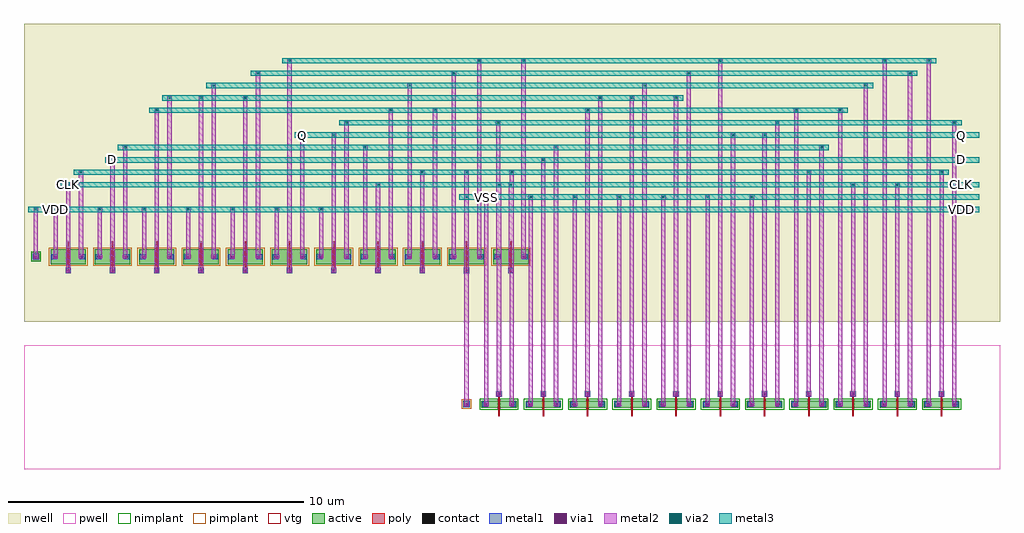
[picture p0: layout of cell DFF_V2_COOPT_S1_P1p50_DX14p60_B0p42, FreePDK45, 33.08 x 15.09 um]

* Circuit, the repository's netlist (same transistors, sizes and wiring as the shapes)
* cell DFF_V2_COOPT_S1_P1p50_DX14p60_B0p42
* pin D
* pin Q
* pin VDD
* pin CLK,VSS
.SUBCKT DFF_V2_COOPT_S1_P1p50_DX14p60_B0p42 1 7 9 10
* net 1 D
* net 7 Q
* net 9 VDD
* net 10 CLK,VSS
* device instance $1 r0 *1 16.2,7 PMOS_VTG
M$1 8 10 10 9 PMOS_VTG L=0.05U W=0.5U AS=0.2875P AD=0.2875P PS=2.15U PD=2.15U
* device instance $2 r0 *1 14.7,7 PMOS_VTG
M$2 8 10 5 9 PMOS_VTG L=0.05U W=0.5U AS=0.2875P AD=0.2875P PS=2.15U PD=2.15U
* device instance $3 r0 *1 13.2,7 PMOS_VTG
M$3 2 10 4 9 PMOS_VTG L=0.05U W=0.5U AS=0.2875P AD=0.2875P PS=2.15U PD=2.15U
* device instance $4 r0 *1 11.7,7 PMOS_VTG
M$4 2 10 6 9 PMOS_VTG L=0.05U W=0.5U AS=0.2875P AD=0.2875P PS=2.15U PD=2.15U
* device instance $5 r0 *1 10.2,7 PMOS_VTG
M$5 10 7 9 9 PMOS_VTG L=0.05U W=0.5U AS=0.2875P AD=0.2875P PS=2.15U PD=2.15U
* device instance $6 r0 *1 2.7,7 PMOS_VTG
M$6 6 1 9 9 PMOS_VTG L=0.05U W=0.5U AS=0.2875P AD=0.2875P PS=2.15U PD=2.15U
* device instance $7 r0 *1 1.2,7 PMOS_VTG
M$7 10 10 9 9 PMOS_VTG L=0.05U W=0.5U AS=0.2875P AD=0.2875P PS=2.15U PD=2.15U
* device instance $8 r0 *1 8.7,7 PMOS_VTG
M$8 7 8 9 9 PMOS_VTG L=0.05U W=0.5U AS=0.2875P AD=0.2875P PS=2.15U PD=2.15U
* device instance $9 r0 *1 4.2,7 PMOS_VTG
M$9 3 2 9 9 PMOS_VTG L=0.05U W=0.5U AS=0.2875P AD=0.2875P PS=2.15U PD=2.15U
* device instance $10 r0 *1 7.2,7 PMOS_VTG
M$10 5 3 9 9 PMOS_VTG L=0.05U W=0.5U AS=0.2875P AD=0.2875P PS=2.15U PD=2.15U
* device instance $11 r0 *1 5.7,7 PMOS_VTG
M$11 4 3 9 9 PMOS_VTG L=0.05U W=0.5U AS=0.2875P AD=0.2875P PS=2.15U PD=2.15U
* device instance $12 r0 *1 30.8,2 NMOS_VTG
M$12 10 10 8 10 NMOS_VTG L=0.05U W=0.25U AS=0.14375P AD=0.14375P PS=1.65U
+ PD=1.65U
* device instance $13 r0 *1 29.3,2 NMOS_VTG
M$13 5 10 8 10 NMOS_VTG L=0.05U W=0.25U AS=0.14375P AD=0.14375P PS=1.65U
+ PD=1.65U
* device instance $14 r0 *1 27.8,2 NMOS_VTG
M$14 4 10 2 10 NMOS_VTG L=0.05U W=0.25U AS=0.14375P AD=0.14375P PS=1.65U
+ PD=1.65U
* device instance $15 r0 *1 24.8,2 NMOS_VTG
M$15 10 7 10 10 NMOS_VTG L=0.05U W=0.25U AS=0.14375P AD=0.14375P PS=1.65U
+ PD=1.65U
* device instance $16 r0 *1 15.8,2 NMOS_VTG
M$16 10 10 10 10 NMOS_VTG L=0.05U W=0.25U AS=0.14375P AD=0.14375P PS=1.65U
+ PD=1.65U
* device instance $17 r0 *1 21.8,2 NMOS_VTG
M$17 5 3 10 10 NMOS_VTG L=0.05U W=0.25U AS=0.14375P AD=0.14375P PS=1.65U
+ PD=1.65U
* device instance $18 r0 *1 17.3,2 NMOS_VTG
M$18 6 1 10 10 NMOS_VTG L=0.05U W=0.25U AS=0.14375P AD=0.14375P PS=1.65U
+ PD=1.65U
* device instance $19 r0 *1 18.8,2 NMOS_VTG
M$19 3 2 10 10 NMOS_VTG L=0.05U W=0.25U AS=0.14375P AD=0.14375P PS=1.65U
+ PD=1.65U
* device instance $20 r0 *1 20.3,2 NMOS_VTG
M$20 4 3 10 10 NMOS_VTG L=0.05U W=0.25U AS=0.14375P AD=0.14375P PS=1.65U
+ PD=1.65U
* device instance $21 r0 *1 23.3,2 NMOS_VTG
M$21 7 8 10 10 NMOS_VTG L=0.05U W=0.25U AS=0.14375P AD=0.14375P PS=1.65U
+ PD=1.65U
* device instance $22 r0 *1 26.3,2 NMOS_VTG
M$22 6 10 2 10 NMOS_VTG L=0.05U W=0.25U AS=0.14375P AD=0.14375P PS=1.65U
+ PD=1.65U
.ENDS DFF_V2_COOPT_S1_P1p50_DX14p60_B0p42

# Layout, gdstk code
import gdstk
lib = gdstk.Library(unit=1e-6, precision=5e-10)
def R(c, l, rs):  # rectangles x0, y0, x1, y1
    for r in rs: c.add(gdstk.rectangle(r[:2], r[2:], *l))
def A(c, l, x, y, w, h, nx, ny, dx, dy):  # array of equal rectangles
    R(c, l, [(x+i*dx, y+j*dy, x+i*dx+w, y+j*dy+h) for i in range(nx) for j in range(ny)])
active = (1, 0)
pwell = (2, 0)
nwell = (3, 0)
nimplant = (4, 0)
pimplant = (5, 0)
vtg = (6, 0)
poly = (9, 0)
contact = (10, 0)
metal1 = (11, 0)
via1 = (12, 0)
metal2 = (13, 0)
via2 = (14, 0)
metal3 = (15, 0)

dff_v2_coopt_s1_p1p50_dx = lib.new_cell('DFF_V2_COOPT_S1_P1p50_DX14p60_B0p42')
A(dff_v2_coopt_s1_p1p50_dx, active, 15.2, 1.875, 1.2, 0.25, 11, 1, 1.5, 0)
A(dff_v2_coopt_s1_p1p50_dx, active, 0.6, 6.75, 1.2, 0.5, 11, 1, 1.5, 0)
R(dff_v2_coopt_s1_p1p50_dx, active, [(14.59,1.89,14.81,2.11), (-0.01,6.89,0.21,7.11)])
R(dff_v2_coopt_s1_p1p50_dx, pwell, [(-0.3,-0.2,32.78,4)])
R(dff_v2_coopt_s1_p1p50_dx, nwell, [(-0.3,4.8,32.78,14.89)])
A(dff_v2_coopt_s1_p1p50_dx, nimplant, 15.14, 1.815, 1.32, 0.37, 11, 1, 1.5, 0)
R(dff_v2_coopt_s1_p1p50_dx, nimplant, [(-0.06,6.84,0.26,7.16)])
A(dff_v2_coopt_s1_p1p50_dx, pimplant, 0.54, 6.69, 1.32, 0.62, 11, 1, 1.5, 0)
R(dff_v2_coopt_s1_p1p50_dx, pimplant, [(14.54,1.84,14.86,2.16)])
A(dff_v2_coopt_s1_p1p50_dx, vtg, 15.765, 1.845, 0.07, 0.31, 11, 1, 1.5, 0)
A(dff_v2_coopt_s1_p1p50_dx, vtg, 1.165, 6.72, 0.07, 0.56, 11, 1, 1.5, 0)
A(dff_v2_coopt_s1_p1p50_dx, poly, 15.775, 1.595, 0.05, 0.81, 11, 1, 1.5, 0)
A(dff_v2_coopt_s1_p1p50_dx, poly, 1.175, 6.47, 0.05, 1.06, 11, 1, 1.5, 0)
A(dff_v2_coopt_s1_p1p50_dx, contact, 15.77, 2.315, 0.065, 0.065, 11, 1, 1.5, 0)
A(dff_v2_coopt_s1_p1p50_dx, contact, 1.17, 6.5, 0.065, 0.065, 11, 1, 1.5, 0)
R(dff_v2_coopt_s1_p1p50_dx, contact, [(14.67,1.97,14.735,2.035), (15.29,1.97,15.355,2.035), (16.25,1.97,16.315,2.035), (16.79,1.97,16.855,2.035), (17.75,1.97,17.815,2.035), (18.29,1.97,18.355,2.035), (19.25,1.97,19.315,2.035), (19.79,1.97,19.855,2.035), (20.75,1.97,20.815,2.035), (21.29,1.97,21.355,2.035), (22.25,1.97,22.315,2.035), (22.79,1.97,22.855,2.035), (23.75,1.97,23.815,2.035), (24.29,1.97,24.355,2.035), (25.25,1.97,25.315,2.035), (25.79,1.97,25.855,2.035), (26.75,1.97,26.815,2.035), (27.29,1.97,27.355,2.035), (28.25,1.97,28.315,2.035), (28.79,1.97,28.855,2.035), (29.75,1.97,29.815,2.035), (30.29,1.97,30.355,2.035), (31.25,1.97,31.315,2.035), (0.07,6.97,0.135,7.035), (0.69,6.97,0.755,7.035), (1.65,6.97,1.715,7.035), (2.19,6.97,2.255,7.035), (3.15,6.97,3.215,7.035), (3.69,6.97,3.755,7.035), (4.65,6.97,4.715,7.035), (5.19,6.97,5.255,7.035), (6.15,6.97,6.215,7.035), (6.69,6.97,6.755,7.035), (7.65,6.97,7.715,7.035), (8.19,6.97,8.255,7.035), (9.15,6.97,9.215,7.035), (9.69,6.97,9.755,7.035), (10.65,6.97,10.715,7.035), (11.19,6.97,11.255,7.035), (12.15,6.97,12.215,7.035), (12.69,6.97,12.755,7.035), (13.65,6.97,13.715,7.035), (14.19,6.97,14.255,7.035), (15.15,6.97,15.215,7.035), (15.69,6.97,15.755,7.035), (16.65,6.97,16.715,7.035)])
A(dff_v2_coopt_s1_p1p50_dx, metal1, 15.71, 2.255, 0.18, 0.18, 11, 1, 1.5, 0)
A(dff_v2_coopt_s1_p1p50_dx, metal1, 15.725, 2.27, 0.15, 0.15, 11, 1, 1.5, 0)
A(dff_v2_coopt_s1_p1p50_dx, metal1, 1.11, 6.44, 0.18, 0.18, 11, 1, 1.5, 0)
A(dff_v2_coopt_s1_p1p50_dx, metal1, 1.125, 6.455, 0.15, 0.15, 11, 1, 1.5, 0)
R(dff_v2_coopt_s1_p1p50_dx, metal1, [(14.6,1.9,14.8,2.1), (15.23,1.91,15.41,2.09), (16.19,1.91,16.37,2.09), (16.73,1.91,16.91,2.09), (17.69,1.91,17.87,2.09), (18.23,1.91,18.41,2.09), (19.19,1.91,19.37,2.09), (19.73,1.91,19.91,2.09), (20.69,1.91,20.87,2.09), (21.23,1.91,21.41,2.09), (22.19,1.91,22.37,2.09), (22.73,1.91,22.91,2.09), (23.69,1.91,23.87,2.09), (24.23,1.91,24.41,2.09), (25.19,1.91,25.37,2.09), (25.73,1.91,25.91,2.09), (26.69,1.91,26.87,2.09), (27.23,1.91,27.41,2.09), (28.19,1.91,28.37,2.09), (28.73,1.91,28.91,2.09), (29.69,1.91,29.87,2.09), (30.23,1.91,30.41,2.09), (31.19,1.91,31.37,2.09), (14.625,1.925,14.775,2.075), (14.625,1.925,14.775,2.075), (14.625,1.925,14.775,2.075), (14.625,1.925,14.775,2.075), (14.625,1.925,14.775,2.075), (14.625,1.925,14.775,2.075), (14.625,1.925,14.775,2.075), (14.625,1.925,14.775,2.075), (14.625,1.925,14.775,2.075), (14.625,1.925,14.775,2.075), (14.625,1.925,14.775,2.075), (14.625,1.925,14.775,2.075), (15.295,1.925,15.445,2.075), (16.155,1.925,16.305,2.075), (16.795,1.925,16.945,2.075), (17.655,1.925,17.805,2.075), (18.295,1.925,18.445,2.075), (19.155,1.925,19.305,2.075), (19.795,1.925,19.945,2.075), (20.655,1.925,20.805,2.075), (21.295,1.925,21.445,2.075), (22.155,1.925,22.305,2.075), (22.795,1.925,22.945,2.075), (23.655,1.925,23.805,2.075), (24.295,1.925,24.445,2.075), (25.155,1.925,25.305,2.075), (25.795,1.925,25.945,2.075), (26.655,1.925,26.805,2.075), (27.295,1.925,27.445,2.075), (28.155,1.925,28.305,2.075), (28.795,1.925,28.945,2.075), (29.655,1.925,29.805,2.075), (30.295,1.925,30.445,2.075), (31.155,1.925,31.305,2.075), (0,6.9,0.2,7.1), (0.63,6.91,0.81,7.09), (1.59,6.91,1.77,7.09), (2.13,6.91,2.31,7.09), (3.09,6.91,3.27,7.09), (3.63,6.91,3.81,7.09), (4.59,6.91,4.77,7.09), (5.13,6.91,5.31,7.09), (6.09,6.91,6.27,7.09), (6.63,6.91,6.81,7.09), (7.59,6.91,7.77,7.09), (8.13,6.91,8.31,7.09), (9.09,6.91,9.27,7.09), (9.63,6.91,9.81,7.09), (10.59,6.91,10.77,7.09), (11.13,6.91,11.31,7.09), (12.09,6.91,12.27,7.09), (12.63,6.91,12.81,7.09), (13.59,6.91,13.77,7.09), (14.13,6.91,14.31,7.09), (15.09,6.91,15.27,7.09), (15.63,6.91,15.81,7.09), (16.59,6.91,16.77,7.09), (0.025,6.925,0.175,7.075), (0.025,6.925,0.175,7.075), (0.025,6.925,0.175,7.075), (0.025,6.925,0.175,7.075), (0.025,6.925,0.175,7.075), (0.025,6.925,0.175,7.075), (0.025,6.925,0.175,7.075), (0.025,6.925,0.175,7.075), (0.025,6.925,0.175,7.075), (0.025,6.925,0.175,7.075), (0.025,6.925,0.175,7.075), (0.025,6.925,0.175,7.075), (0.695,6.925,0.845,7.075), (1.555,6.925,1.705,7.075), (2.195,6.925,2.345,7.075), (3.055,6.925,3.205,7.075), (3.695,6.925,3.845,7.075), (4.555,6.925,4.705,7.075), (5.195,6.925,5.345,7.075), (6.055,6.925,6.205,7.075), (6.695,6.925,6.845,7.075), (7.555,6.925,7.705,7.075), (8.195,6.925,8.345,7.075), (9.055,6.925,9.205,7.075), (9.695,6.925,9.845,7.075), (10.555,6.925,10.705,7.075), (11.195,6.925,11.345,7.075), (12.055,6.925,12.205,7.075), (12.695,6.925,12.845,7.075), (13.555,6.925,13.705,7.075), (14.195,6.925,14.345,7.075), (15.055,6.925,15.205,7.075), (15.695,6.925,15.845,7.075), (16.555,6.925,16.705,7.075)])
A(dff_v2_coopt_s1_p1p50_dx, via1, 15.77, 2.315, 0.065, 0.065, 11, 1, 1.5, 0)
A(dff_v2_coopt_s1_p1p50_dx, via1, 1.17, 6.5, 0.065, 0.065, 11, 1, 1.5, 0)
R(dff_v2_coopt_s1_p1p50_dx, via1, [(14.67,1.97,14.735,2.035), (14.67,1.97,14.735,2.035), (14.67,1.97,14.735,2.035), (14.67,1.97,14.735,2.035), (14.67,1.97,14.735,2.035), (14.67,1.97,14.735,2.035), (14.67,1.97,14.735,2.035), (14.67,1.97,14.735,2.035), (14.67,1.97,14.735,2.035), (14.67,1.97,14.735,2.035), (14.67,1.97,14.735,2.035), (14.67,1.97,14.735,2.035), (15.34,1.97,15.405,2.035), (16.2,1.97,16.265,2.035), (16.84,1.97,16.905,2.035), (17.7,1.97,17.765,2.035), (18.34,1.97,18.405,2.035), (19.2,1.97,19.265,2.035), (19.84,1.97,19.905,2.035), (20.7,1.97,20.765,2.035), (21.34,1.97,21.405,2.035), (22.2,1.97,22.265,2.035), (22.84,1.97,22.905,2.035), (23.7,1.97,23.765,2.035), (24.34,1.97,24.405,2.035), (25.2,1.97,25.265,2.035), (25.84,1.97,25.905,2.035), (26.7,1.97,26.765,2.035), (27.34,1.97,27.405,2.035), (28.2,1.97,28.265,2.035), (28.84,1.97,28.905,2.035), (29.7,1.97,29.765,2.035), (30.34,1.97,30.405,2.035), (31.2,1.97,31.265,2.035), (0.07,6.97,0.135,7.035), (0.07,6.97,0.135,7.035), (0.07,6.97,0.135,7.035), (0.07,6.97,0.135,7.035), (0.07,6.97,0.135,7.035), (0.07,6.97,0.135,7.035), (0.07,6.97,0.135,7.035), (0.07,6.97,0.135,7.035), (0.07,6.97,0.135,7.035), (0.07,6.97,0.135,7.035), (0.07,6.97,0.135,7.035), (0.07,6.97,0.135,7.035), (0.74,6.97,0.805,7.035), (1.6,6.97,1.665,7.035), (2.24,6.97,2.305,7.035), (3.1,6.97,3.165,7.035), (3.74,6.97,3.805,7.035), (4.6,6.97,4.665,7.035), (5.24,6.97,5.305,7.035), (6.1,6.97,6.165,7.035), (6.74,6.97,6.805,7.035), (7.6,6.97,7.665,7.035), (8.24,6.97,8.305,7.035), (9.1,6.97,9.165,7.035), (9.74,6.97,9.805,7.035), (10.6,6.97,10.665,7.035), (11.24,6.97,11.305,7.035), (12.1,6.97,12.165,7.035), (12.74,6.97,12.805,7.035), (13.6,6.97,13.665,7.035), (14.24,6.97,14.305,7.035), (15.1,6.97,15.165,7.035), (15.74,6.97,15.805,7.035), (16.6,6.97,16.665,7.035)])
A(dff_v2_coopt_s1_p1p50_dx, metal2, 15.3, 2, 0.14, 7.02, 7, 1, 1.5, 0)
A(dff_v2_coopt_s1_p1p50_dx, metal2, 15.725, 2.27, 0.15, 0.15, 11, 1, 1.5, 0)
A(dff_v2_coopt_s1_p1p50_dx, metal2, 1.125, 6.455, 0.15, 0.15, 11, 1, 1.5, 0)
A(dff_v2_coopt_s1_p1p50_dx, metal2, 0.7, 7, 0.14, 1.6, 7, 1, 1.5, 0)
A(dff_v2_coopt_s1_p1p50_dx, metal2, 0.695, 8.525, 0.15, 0.15, 7, 1, 1.5, 0)
A(dff_v2_coopt_s1_p1p50_dx, metal2, 15.295, 8.945, 0.15, 0.15, 7, 1, 1.5, 0)
R(dff_v2_coopt_s1_p1p50_dx, metal2, [(14.625,1.925,14.775,2.075), (14.625,1.925,14.775,2.075), (14.625,1.925,14.775,2.075), (14.625,1.925,14.775,2.075), (14.625,1.925,14.775,2.075), (14.625,1.925,14.775,2.075), (14.625,1.925,14.775,2.075), (14.625,1.925,14.775,2.075), (14.625,1.925,14.775,2.075), (14.625,1.925,14.775,2.075), (14.625,1.925,14.775,2.075), (14.625,1.925,14.775,2.075), (15.295,1.925,15.445,2.075), (16.155,1.925,16.305,2.075), (16.795,1.925,16.945,2.075), (17.655,1.925,17.805,2.075), (18.295,1.925,18.445,2.075), (19.155,1.925,19.305,2.075), (19.795,1.925,19.945,2.075), (20.655,1.925,20.805,2.075), (21.295,1.925,21.445,2.075), (22.155,1.925,22.305,2.075), (22.795,1.925,22.945,2.075), (23.655,1.925,23.805,2.075), (24.295,1.925,24.445,2.075), (25.155,1.925,25.305,2.075), (25.795,1.925,25.945,2.075), (26.655,1.925,26.805,2.075), (27.295,1.925,27.445,2.075), (28.155,1.925,28.305,2.075), (28.795,1.925,28.945,2.075), (29.655,1.925,29.805,2.075), (30.295,1.925,30.445,2.075), (31.155,1.925,31.305,2.075), (14.63,2,14.77,9.02), (14.63,2,14.77,9.02), (14.63,2,14.77,9.02), (14.63,2,14.77,9.02), (14.63,2,14.77,9.02), (14.63,2,14.77,9.02), (14.63,2,14.77,9.02), (14.63,2,14.77,9.02), (14.63,2,14.77,9.02), (14.63,2,14.77,9.02), (14.63,2,14.77,9.02), (14.63,2,14.77,9.02), (16.16,2,16.3,9.86), (17.66,2,17.8,10.7), (19.16,2,19.3,12.38), (20.66,2,20.8,12.8), (22.16,2,22.3,13.22), (23.66,2,23.8,11.12), (25.16,2,25.3,11.54), (25.8,2,25.94,11.96), (26.66,2,26.8,10.7), (27.3,2,27.44,11.96), (28.16,2,28.3,12.8), (28.8,2,28.94,13.64), (29.66,2,29.8,13.22), (30.3,2,30.44,13.64), (31.16,2,31.3,11.54), (15.73,2.345,15.87,9.44), (17.23,2.345,17.37,10.28), (18.73,2.345,18.87,11.96), (20.23,2.345,20.37,12.38), (21.73,2.345,21.87,12.38), (23.23,2.345,23.37,13.64), (24.73,2.345,24.87,11.12), (26.23,2.345,26.37,9.86), (27.73,2.345,27.87,9.44), (29.23,2.345,29.37,9.44), (30.73,2.345,30.87,9.86), (1.13,6.53,1.27,9.44), (2.63,6.53,2.77,10.28), (4.13,6.53,4.27,11.96), (5.63,6.53,5.77,12.38), (7.13,6.53,7.27,12.38), (8.63,6.53,8.77,13.64), (10.13,6.53,10.27,11.12), (11.63,6.53,11.77,9.44), (13.13,6.53,13.27,9.86), (14.63,6.53,14.77,9.86), (16.13,6.53,16.27,9.44), (0.025,6.925,0.175,7.075), (0.025,6.925,0.175,7.075), (0.025,6.925,0.175,7.075), (0.025,6.925,0.175,7.075), (0.025,6.925,0.175,7.075), (0.025,6.925,0.175,7.075), (0.025,6.925,0.175,7.075), (0.025,6.925,0.175,7.075), (0.025,6.925,0.175,7.075), (0.025,6.925,0.175,7.075), (0.025,6.925,0.175,7.075), (0.025,6.925,0.175,7.075), (0.695,6.925,0.845,7.075), (1.555,6.925,1.705,7.075), (2.195,6.925,2.345,7.075), (3.055,6.925,3.205,7.075), (3.695,6.925,3.845,7.075), (4.555,6.925,4.705,7.075), (5.195,6.925,5.345,7.075), (6.055,6.925,6.205,7.075), (6.695,6.925,6.845,7.075), (7.555,6.925,7.705,7.075), (8.195,6.925,8.345,7.075), (9.055,6.925,9.205,7.075), (9.695,6.925,9.845,7.075), (10.555,6.925,10.705,7.075), (11.195,6.925,11.345,7.075), (12.055,6.925,12.205,7.075), (12.695,6.925,12.845,7.075), (13.555,6.925,13.705,7.075), (14.195,6.925,14.345,7.075), (15.055,6.925,15.205,7.075), (15.695,6.925,15.845,7.075), (16.555,6.925,16.705,7.075), (0.03,7,0.17,8.6), (0.03,7,0.17,8.6), (0.03,7,0.17,8.6), (0.03,7,0.17,8.6), (0.03,7,0.17,8.6), (0.03,7,0.17,8.6), (0.03,7,0.17,8.6), (0.03,7,0.17,8.6), (0.03,7,0.17,8.6), (0.03,7,0.17,8.6), (0.03,7,0.17,8.6), (0.03,7,0.17,8.6), (1.56,7,1.7,9.86), (3.06,7,3.2,10.7), (4.56,7,4.7,12.38), (6.06,7,6.2,12.8), (7.56,7,7.7,13.22), (9.06,7,9.2,11.12), (10.56,7,10.7,11.54), (11.2,7,11.34,10.7), (12.06,7,12.2,11.96), (12.7,7,12.84,12.8), (13.56,7,13.7,11.96), (14.2,7,14.34,13.22), (15.06,7,15.2,13.64), (15.7,7,15.84,11.54), (16.56,7,16.7,13.64), (0.025,8.525,0.175,8.675), (0.025,8.525,0.175,8.675), (0.025,8.525,0.175,8.675), (0.025,8.525,0.175,8.675), (0.025,8.525,0.175,8.675), (0.025,8.525,0.175,8.675), (0.025,8.525,0.175,8.675), (0.025,8.525,0.175,8.675), (0.025,8.525,0.175,8.675), (0.025,8.525,0.175,8.675), (0.025,8.525,0.175,8.675), (0.025,8.525,0.175,8.675), (14.625,8.945,14.775,9.095), (14.625,8.945,14.775,9.095), (14.625,8.945,14.775,9.095), (14.625,8.945,14.775,9.095), (14.625,8.945,14.775,9.095), (14.625,8.945,14.775,9.095), (14.625,8.945,14.775,9.095), (14.625,8.945,14.775,9.095), (14.625,8.945,14.775,9.095), (14.625,8.945,14.775,9.095), (14.625,8.945,14.775,9.095), (14.625,8.945,14.775,9.095), (1.125,9.365,1.275,9.515), (11.625,9.365,11.775,9.515), (15.725,9.365,15.875,9.515), (16.125,9.365,16.275,9.515), (27.725,9.365,27.875,9.515), (29.225,9.365,29.375,9.515), (1.555,9.785,1.705,9.935), (13.125,9.785,13.275,9.935), (14.625,9.785,14.775,9.935), (16.155,9.785,16.305,9.935), (26.225,9.785,26.375,9.935), (30.725,9.785,30.875,9.935), (2.625,10.205,2.775,10.355), (17.225,10.205,17.375,10.355), (3.055,10.625,3.205,10.775), (11.195,10.625,11.345,10.775), (17.655,10.625,17.805,10.775), (26.655,10.625,26.805,10.775), (9.055,11.045,9.205,11.195), (10.125,11.045,10.275,11.195), (23.655,11.045,23.805,11.195), (24.725,11.045,24.875,11.195), (10.555,11.465,10.705,11.615), (15.695,11.465,15.845,11.615), (25.155,11.465,25.305,11.615), (31.155,11.465,31.305,11.615), (4.125,11.885,4.275,12.035), (12.055,11.885,12.205,12.035), (13.555,11.885,13.705,12.035), (18.725,11.885,18.875,12.035), (25.795,11.885,25.945,12.035), (27.295,11.885,27.445,12.035), (4.555,12.305,4.705,12.455), (5.625,12.305,5.775,12.455), (7.125,12.305,7.275,12.455), (19.155,12.305,19.305,12.455), (20.225,12.305,20.375,12.455), (21.725,12.305,21.875,12.455), (6.055,12.725,6.205,12.875), (12.695,12.725,12.845,12.875), (20.655,12.725,20.805,12.875), (28.155,12.725,28.305,12.875), (7.555,13.145,7.705,13.295), (14.195,13.145,14.345,13.295), (22.155,13.145,22.305,13.295), (29.655,13.145,29.805,13.295), (8.625,13.565,8.775,13.715), (15.055,13.565,15.205,13.715), (16.555,13.565,16.705,13.715), (23.225,13.565,23.375,13.715), (28.795,13.565,28.945,13.715), (30.295,13.565,30.445,13.715)])
A(dff_v2_coopt_s1_p1p50_dx, via2, 0.74, 8.57, 0.065, 0.065, 7, 1, 1.5, 0)
A(dff_v2_coopt_s1_p1p50_dx, via2, 15.34, 8.99, 0.065, 0.065, 7, 1, 1.5, 0)
R(dff_v2_coopt_s1_p1p50_dx, via2, [(0.07,8.57,0.135,8.635), (0.07,8.57,0.135,8.635), (0.07,8.57,0.135,8.635), (0.07,8.57,0.135,8.635), (0.07,8.57,0.135,8.635), (0.07,8.57,0.135,8.635), (0.07,8.57,0.135,8.635), (0.07,8.57,0.135,8.635), (0.07,8.57,0.135,8.635), (0.07,8.57,0.135,8.635), (0.07,8.57,0.135,8.635), (0.07,8.57,0.135,8.635), (14.67,8.99,14.735,9.055), (14.67,8.99,14.735,9.055), (14.67,8.99,14.735,9.055), (14.67,8.99,14.735,9.055), (14.67,8.99,14.735,9.055), (14.67,8.99,14.735,9.055), (14.67,8.99,14.735,9.055), (14.67,8.99,14.735,9.055), (14.67,8.99,14.735,9.055), (14.67,8.99,14.735,9.055), (14.67,8.99,14.735,9.055), (14.67,8.99,14.735,9.055), (1.17,9.41,1.235,9.475), (11.67,9.41,11.735,9.475), (15.77,9.41,15.835,9.475), (16.17,9.41,16.235,9.475), (27.77,9.41,27.835,9.475), (29.27,9.41,29.335,9.475), (1.6,9.83,1.665,9.895), (13.17,9.83,13.235,9.895), (14.67,9.83,14.735,9.895), (16.2,9.83,16.265,9.895), (26.27,9.83,26.335,9.895), (30.77,9.83,30.835,9.895), (2.67,10.25,2.735,10.315), (17.27,10.25,17.335,10.315), (3.1,10.67,3.165,10.735), (11.24,10.67,11.305,10.735), (17.7,10.67,17.765,10.735), (26.7,10.67,26.765,10.735), (9.1,11.09,9.165,11.155), (10.17,11.09,10.235,11.155), (23.7,11.09,23.765,11.155), (24.77,11.09,24.835,11.155), (10.6,11.51,10.665,11.575), (15.74,11.51,15.805,11.575), (25.2,11.51,25.265,11.575), (31.2,11.51,31.265,11.575), (4.17,11.93,4.235,11.995), (12.1,11.93,12.165,11.995), (13.6,11.93,13.665,11.995), (18.77,11.93,18.835,11.995), (25.84,11.93,25.905,11.995), (27.34,11.93,27.405,11.995), (4.6,12.35,4.665,12.415), (5.67,12.35,5.735,12.415), (7.17,12.35,7.235,12.415), (19.2,12.35,19.265,12.415), (20.27,12.35,20.335,12.415), (21.77,12.35,21.835,12.415), (6.1,12.77,6.165,12.835), (12.74,12.77,12.805,12.835), (20.7,12.77,20.765,12.835), (28.2,12.77,28.265,12.835), (7.6,13.19,7.665,13.255), (14.24,13.19,14.305,13.255), (22.2,13.19,22.265,13.255), (29.7,13.19,29.765,13.255), (8.67,13.61,8.735,13.675), (15.1,13.61,15.165,13.675), (16.6,13.61,16.665,13.675), (23.27,13.61,23.335,13.675), (28.84,13.61,28.905,13.675), (30.34,13.61,30.405,13.675)])
A(dff_v2_coopt_s1_p1p50_dx, metal3, 0.695, 8.525, 0.15, 0.15, 7, 1, 1.5, 0)
A(dff_v2_coopt_s1_p1p50_dx, metal3, 15.295, 8.945, 0.15, 0.15, 7, 1, 1.5, 0)
R(dff_v2_coopt_s1_p1p50_dx, metal3, [(-0.15,8.51,10.02,8.69), (10.02,8.51,32.08,8.69), (0.025,8.525,0.175,8.675), (0.025,8.525,0.175,8.675), (0.025,8.525,0.175,8.675), (0.025,8.525,0.175,8.675), (0.025,8.525,0.175,8.675), (0.025,8.525,0.175,8.675), (0.025,8.525,0.175,8.675), (0.025,8.525,0.175,8.675), (0.025,8.525,0.175,8.675), (0.025,8.525,0.175,8.675), (0.025,8.525,0.175,8.675), (0.025,8.525,0.175,8.675), (14.45,8.93,24.62,9.11), (24.62,8.93,32.08,9.11), (14.625,8.945,14.775,9.095), (14.625,8.945,14.775,9.095), (14.625,8.945,14.775,9.095), (14.625,8.945,14.775,9.095), (14.625,8.945,14.775,9.095), (14.625,8.945,14.775,9.095), (14.625,8.945,14.775,9.095), (14.625,8.945,14.775,9.095), (14.625,8.945,14.775,9.095), (14.625,8.945,14.775,9.095), (14.625,8.945,14.775,9.095), (14.625,8.945,14.775,9.095), (0.95,9.35,29.55,9.53), (29.55,9.35,32.08,9.53), (1.125,9.365,1.275,9.515), (11.625,9.365,11.775,9.515), (15.725,9.365,15.875,9.515), (16.125,9.365,16.275,9.515), (27.725,9.365,27.875,9.515), (29.225,9.365,29.375,9.515), (1.38,9.77,31.05,9.95), (1.555,9.785,1.705,9.935), (13.125,9.785,13.275,9.935), (14.625,9.785,14.775,9.935), (16.155,9.785,16.305,9.935), (26.225,9.785,26.375,9.935), (30.725,9.785,30.875,9.935), (2.45,10.19,17.55,10.37), (17.55,10.19,32.08,10.37), (2.625,10.205,2.775,10.355), (17.225,10.205,17.375,10.355), (2.88,10.61,26.98,10.79), (3.055,10.625,3.205,10.775), (11.195,10.625,11.345,10.775), (17.655,10.625,17.805,10.775), (26.655,10.625,26.805,10.775), (8.88,11.03,25.05,11.21), (25.05,11.03,32.08,11.21), (9.055,11.045,9.205,11.195), (10.125,11.045,10.275,11.195), (23.655,11.045,23.805,11.195), (24.725,11.045,24.875,11.195), (10.38,11.45,31.48,11.63), (10.555,11.465,10.705,11.615), (15.695,11.465,15.845,11.615), (25.155,11.465,25.305,11.615), (31.155,11.465,31.305,11.615), (3.95,11.87,27.62,12.05), (4.125,11.885,4.275,12.035), (12.055,11.885,12.205,12.035), (13.555,11.885,13.705,12.035), (18.725,11.885,18.875,12.035), (25.795,11.885,25.945,12.035), (27.295,11.885,27.445,12.035), (4.38,12.29,22.05,12.47), (4.555,12.305,4.705,12.455), (5.625,12.305,5.775,12.455), (7.125,12.305,7.275,12.455), (19.155,12.305,19.305,12.455), (20.225,12.305,20.375,12.455), (21.725,12.305,21.875,12.455), (5.88,12.71,28.48,12.89), (6.055,12.725,6.205,12.875), (12.695,12.725,12.845,12.875), (20.655,12.725,20.805,12.875), (28.155,12.725,28.305,12.875), (7.38,13.13,29.98,13.31), (7.555,13.145,7.705,13.295), (14.195,13.145,14.345,13.295), (22.155,13.145,22.305,13.295), (29.655,13.145,29.805,13.295), (8.45,13.55,30.62,13.73), (8.625,13.565,8.775,13.715), (15.055,13.565,15.205,13.715), (16.555,13.565,16.705,13.715), (23.225,13.565,23.375,13.715), (28.795,13.565,28.945,13.715), (30.295,13.565,30.445,13.715)])
dff_v2_coopt_s1_p1p50_dx.add(gdstk.Label('VDD', (31.48,8.6), layer=15, texttype=0))
dff_v2_coopt_s1_p1p50_dx.add(gdstk.Label('VDD', (31.48,8.6), layer=15, texttype=1))
dff_v2_coopt_s1_p1p50_dx.add(gdstk.Label('VDD', (31.48,8.6), layer=15, texttype=2))
dff_v2_coopt_s1_p1p50_dx.add(gdstk.Label('VDD', (0.77,8.6), layer=13, texttype=0))
dff_v2_coopt_s1_p1p50_dx.add(gdstk.Label('VDD', (0.77,8.6), layer=13, texttype=1))
dff_v2_coopt_s1_p1p50_dx.add(gdstk.Label('VDD', (0.77,8.6), layer=13, texttype=2))
dff_v2_coopt_s1_p1p50_dx.add(gdstk.Label('VSS', (31.48,9.02), layer=15, texttype=0))
dff_v2_coopt_s1_p1p50_dx.add(gdstk.Label('VSS', (31.48,9.02), layer=15, texttype=1))
dff_v2_coopt_s1_p1p50_dx.add(gdstk.Label('VSS', (31.48,9.02), layer=15, texttype=2))
dff_v2_coopt_s1_p1p50_dx.add(gdstk.Label('VSS', (15.37,9.02), layer=13, texttype=0))
dff_v2_coopt_s1_p1p50_dx.add(gdstk.Label('VSS', (15.37,9.02), layer=13, texttype=1))
dff_v2_coopt_s1_p1p50_dx.add(gdstk.Label('VSS', (15.37,9.02), layer=13, texttype=2))
dff_v2_coopt_s1_p1p50_dx.add(gdstk.Label('D', (31.48,10.28), layer=15, texttype=0))
dff_v2_coopt_s1_p1p50_dx.add(gdstk.Label('D', (31.48,10.28), layer=15, texttype=1))
dff_v2_coopt_s1_p1p50_dx.add(gdstk.Label('D', (31.48,10.28), layer=15, texttype=2))
dff_v2_coopt_s1_p1p50_dx.add(gdstk.Label('D', (2.7,10.28), layer=13, texttype=0))
dff_v2_coopt_s1_p1p50_dx.add(gdstk.Label('D', (2.7,10.28), layer=13, texttype=1))
dff_v2_coopt_s1_p1p50_dx.add(gdstk.Label('D', (2.7,10.28), layer=13, texttype=2))
dff_v2_coopt_s1_p1p50_dx.add(gdstk.Label('Q', (31.48,11.12), layer=15, texttype=0))
dff_v2_coopt_s1_p1p50_dx.add(gdstk.Label('Q', (31.48,11.12), layer=15, texttype=1))
dff_v2_coopt_s1_p1p50_dx.add(gdstk.Label('Q', (31.48,11.12), layer=15, texttype=2))
dff_v2_coopt_s1_p1p50_dx.add(gdstk.Label('Q', (9.13,11.12), layer=13, texttype=0))
dff_v2_coopt_s1_p1p50_dx.add(gdstk.Label('Q', (9.13,11.12), layer=13, texttype=1))
dff_v2_coopt_s1_p1p50_dx.add(gdstk.Label('Q', (9.13,11.12), layer=13, texttype=2))
dff_v2_coopt_s1_p1p50_dx.add(gdstk.Label('CLK', (31.48,9.44), layer=15, texttype=0))
dff_v2_coopt_s1_p1p50_dx.add(gdstk.Label('CLK', (31.48,9.44), layer=15, texttype=1))
dff_v2_coopt_s1_p1p50_dx.add(gdstk.Label('CLK', (31.48,9.44), layer=15, texttype=2))
dff_v2_coopt_s1_p1p50_dx.add(gdstk.Label('CLK', (1.2,9.44), layer=13, texttype=0))
dff_v2_coopt_s1_p1p50_dx.add(gdstk.Label('CLK', (1.2,9.44), layer=13, texttype=1))
dff_v2_coopt_s1_p1p50_dx.add(gdstk.Label('CLK', (1.2,9.44), layer=13, texttype=2))

lib.write_gds('DFF_V2_COOPT_S1_P1p50_DX14p60_B0p42.gds')
